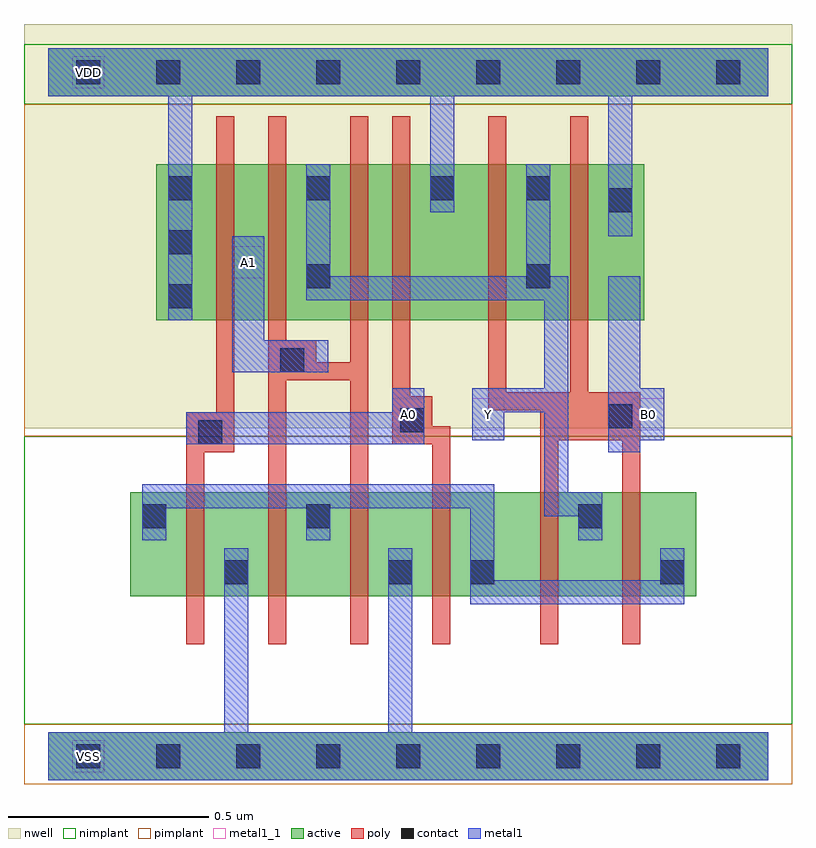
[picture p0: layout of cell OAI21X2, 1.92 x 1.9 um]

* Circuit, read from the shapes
.subckt OAI21X2 A0 A1 B0 VDD VSS Y
M1 VSS A0 n1 VSS nfet w=0.26u l=0.045u m=2
M2 n1 A1 VSS VSS nfet w=0.26u l=0.045u m=2
M3 Y B0 n1 VSS nfet w=0.26u l=0.045u m=2
M4 n2 A0 VDD VDD pfet w=0.39u l=0.045u
M5 Y A1 n2 VDD pfet w=0.39u l=0.045u
M6 n3 A1 Y VDD pfet w=0.39u l=0.045u
M7 VDD A0 n3 VDD pfet w=0.39u l=0.045u
M8 Y B0 VDD VDD pfet w=0.39u l=0.045u m=2
.ends

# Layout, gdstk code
import gdstk
lib = gdstk.Library(unit=1e-6, precision=5e-10)
def R(c, l, rs):  # rectangles x0, y0, x1, y1
    for r in rs: c.add(gdstk.rectangle(r[:2], r[2:], *l))
def A(c, l, x, y, w, h, nx, ny, dx, dy):  # array of equal rectangles
    R(c, l, [(x+i*dx, y+j*dy, x+i*dx+w, y+j*dy+h) for i in range(nx) for j in range(ny)])
def P(c, l, *ps):  # polygons
    for p in ps: c.add(gdstk.Polygon(p, *l))
active = (1, 0)
nwell = (2, 0)
poly = (3, 0)
nimplant = (4, 0)
pimplant = (5, 0)
contact = (6, 0)
metal1 = (7, 0)
metal1_1 = (7, 1)

oai21x2 = lib.new_cell('OAI21X2')
R(oai21x2, active, [(0,-0.06,1.8,0.06), (0.205,0.4,1.62,0.66), (0.27,1.09,1.49,1.48), (0,1.65,1.8,1.77)])
R(oai21x2, nwell, [(-0.06,0.82,1.86,1.83)])
P(oai21x2, poly, [(0.42,1.6),(0.465,1.6),(0.465,0.76),(0.39,0.76),(0.39,0.28),(0.345,0.28),(0.345,0.86),(0.42,0.86)],
  [(0.55,1.6),(0.595,1.6),(0.595,1.04),(0.67,1.04),(0.67,0.985),(0.755,0.985),(0.755,1.6),(0.8,1.6),(0.8,0.28),(0.755,0.28),(0.755,0.94),(0.595,0.94),(0.595,0.28),(0.55,0.28)],
  [(0.86,1.6),(0.905,1.6),(0.905,0.9),(0.96,0.9),(0.96,0.825),(1.005,0.825),(1.005,0.28),(0.96,0.28),(0.96,0.78),(0.86,0.78)],
  [(1.1,1.6),(1.145,1.6),(1.145,0.91),(1.305,0.91),(1.305,1.6),(1.35,1.6),(1.35,0.91),(1.48,0.91),(1.48,0.28),(1.435,0.28),(1.435,0.79),(1.275,0.79),(1.275,0.28),(1.23,0.28),(1.23,0.865),(1.1,0.865)])
R(oai21x2, nimplant, [(-0.06,0.08,1.86,0.8), (-0.06,1.63,1.86,1.78)])
R(oai21x2, pimplant, [(-0.06,-0.07,1.86,0.08), (-0.06,0.8,1.86,1.63)])
A(oai21x2, contact, 0.07, -0.03, 0.06, 0.06, 9, 2, 0.2, 1.71)
A(oai21x2, contact, 0.3, 1.12, 0.06, 0.06, 1, 3, 0, 0.135)
R(oai21x2, contact, [(0.44,0.43,0.5,0.49), (0.85,0.43,0.91,0.49), (1.055,0.43,1.115,0.49), (1.53,0.43,1.59,0.49), (0.235,0.57,0.295,0.63), (0.645,0.57,0.705,0.63), (1.325,0.57,1.385,0.63), (0.375,0.78,0.435,0.84), (0.88,0.81,0.94,0.87), (1.4,0.82,1.46,0.88), (0.58,0.96,0.64,1.02), (0.645,1.17,0.705,1.23), (1.195,1.17,1.255,1.23), (1.4,1.36,1.46,1.42), (0.645,1.39,0.705,1.45), (0.955,1.39,1.015,1.45), (1.195,1.39,1.255,1.45)])
P(oai21x2, metal1, [(0,1.77),(1.8,1.77),(1.8,1.65),(1.46,1.65),(1.46,1.3),(1.4,1.3),(1.4,1.65),(1.015,1.65),(1.015,1.36),(0.955,1.36),(0.955,1.65),(0.36,1.65),(0.36,1.09),(0.3,1.09),(0.3,1.65),(0,1.65)],
  [(0.645,1.48),(0.705,1.48),(0.705,1.2),(1.195,1.2),(1.195,1.48),(1.255,1.48),(1.255,1.2),(1.3,1.2),(1.3,0.66),(1.385,0.66),(1.385,0.54),(1.325,0.54),(1.325,0.6),(1.24,0.6),(1.24,0.86),(1.14,0.86),(1.14,0.79),(1.06,0.79),(1.06,0.92),(1.24,0.92),(1.24,1.14),(0.645,1.14)],
  [(0.46,1.3),(0.54,1.3),(0.54,1.04),(0.7,1.04),(0.7,0.96),(0.46,0.96)],
  [(0.86,0.92),(0.94,0.92),(0.94,0.78),(0.345,0.78),(0.345,0.86),(0.86,0.86)],
  [(0.235,0.68),(1.115,0.68),(1.115,0.44),(1.53,0.44),(1.53,0.52),(1.59,0.52),(1.59,0.38),(1.055,0.38),(1.055,0.62),(0.705,0.62),(0.705,0.54),(0.645,0.54),(0.645,0.62),(0.295,0.62),(0.295,0.54),(0.235,0.54)],
  [(0.44,0.52),(0.5,0.52),(0.5,0.06),(0.85,0.06),(0.85,0.52),(0.91,0.52),(0.91,0.06),(1.8,0.06),(1.8,-0.06),(0,-0.06),(0,0.06),(0.44,0.06)],
  [(1.4,1.2),(1.48,1.2),(1.48,0.92),(1.54,0.92),(1.54,0.79),(1.48,0.79),(1.48,0.76),(1.4,0.76)])
R(oai21x2, metal1_1, [(0.06,-0.04,0.14,0.04), (0.86,0.815,0.94,0.895), (1.06,0.815,1.14,0.895), (1.46,0.815,1.54,0.895), (0.46,1.195,0.54,1.275), (0.06,1.67,0.14,1.75)])
oai21x2.add(gdstk.Label('Y', (1.1,0.855), layer=7, texttype=1))
oai21x2.add(gdstk.Label('A1', (0.5,1.235), layer=7, texttype=1))
oai21x2.add(gdstk.Label('A0', (0.9,0.855), layer=7, texttype=1))
oai21x2.add(gdstk.Label('B0', (1.5,0.855), layer=7, texttype=1))
oai21x2.add(gdstk.Label('VDD', (0.1,1.71), layer=7, texttype=1))
oai21x2.add(gdstk.Label('VSS', (0.1,0), layer=7, texttype=1))
oai21x2.add(gdstk.Label('OAI21X2', (0,0), layer=63, texttype=0))

lib.write_gds('OAI21X2.gds')
